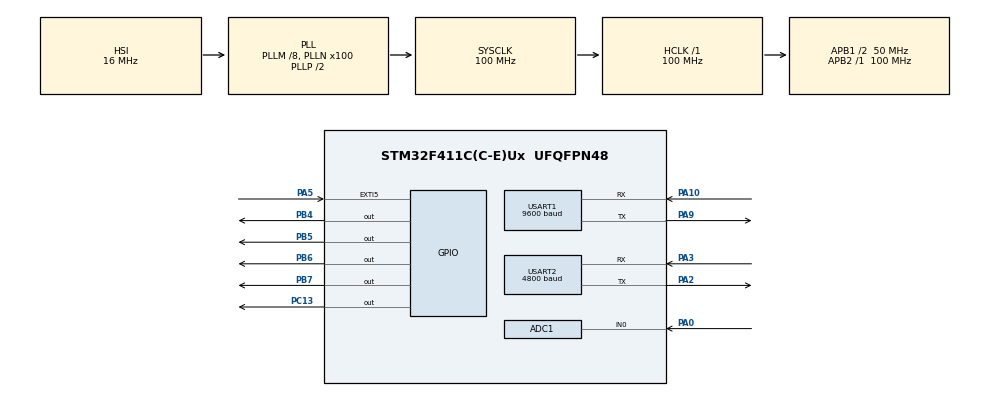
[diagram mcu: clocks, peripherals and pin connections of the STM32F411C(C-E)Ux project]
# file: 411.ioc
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ADC1.Channel-1\#ChannelRegularConversion=ADC_CHANNEL_0
ADC1.ContinuousConvMode=ENABLE
ADC1.InjNumberOfConversion=0
ADC1.NbrOfConversionFlag=1
ADC1.Rank-1\#ChannelRegularConversion=1
ADC1.SamplingTime-1\#ChannelRegularConversion=ADC_SAMPLETIME_3CYCLES
ADC1.master=1
Dma.Request0=USART2_RX
Dma.USART2_RX.0.Direction=DMA_PERIPH_TO_MEMORY
Dma.USART2_RX.0.FIFOMode=DMA_FIFOMODE_DISABLE
Dma.USART2_RX.0.Instance=DMA1_Stream5
Dma.USART2_RX.0.MemDataAlignment=DMA_MDATAALIGN_BYTE
Dma.USART2_RX.0.MemInc=DMA_MINC_ENABLE
Dma.USART2_RX.0.Mode=DMA_NORMAL
Dma.USART2_RX.0.PeriphDataAlignment=DMA_PDATAALIGN_BYTE
Dma.USART2_RX.0.PeriphInc=DMA_PINC_DISABLE
Dma.USART2_RX.0.Priority=DMA_PRIORITY_HIGH
Mcu.Family=STM32F4
Mcu.Name=STM32F411C(C-E)Ux
Mcu.Package=UFQFPN48
NVIC.DMA1_Stream5_IRQn=true\:0\:0\:true\:false\:true\:false\:true\:true
NVIC.EXTI9_5_IRQn=true\:0\:0\:true\:false\:true\:true\:true\:true
NVIC.PriorityGroup=NVIC_PRIORITYGROUP_4
NVIC.USART2_IRQn=true\:0\:0\:true\:false\:true\:true\:true\:true
PA0-WKUP.Signal=ADCx_IN0
PA10.Mode=Asynchronous
PA10.Signal=USART1_RX
PA13.Mode=Serial_Wire
PA13.Signal=SYS_JTMS-SWDIO
PA14.Mode=Serial_Wire
PA14.Signal=SYS_JTCK-SWCLK
PA2.Mode=Asynchronous
PA2.Signal=USART2_TX
PA3.Mode=Asynchronous
PA3.Signal=USART2_RX
PA5.GPIO_ModeDefaultEXTI=GPIO_MODE_IT_RISING_FALLING
PA5.Signal=GPXTI5
PA9.Mode=Asynchronous
PA9.Signal=USART1_TX
PB4.Signal=GPIO_Output
PB5.Signal=GPIO_Output
PB6.Signal=GPIO_Output
PB7.Signal=GPIO_Output
PC13-ANTI_TAMP.Signal=GPIO_Output
PH0\ -\ OSC_IN.Mode=HSE-External-Oscillator
PH0\ -\ OSC_IN.Signal=RCC_OSC_IN
PH1\ -\ OSC_OUT.Mode=HSE-External-Oscillator
PH1\ -\ OSC_OUT.Signal=RCC_OSC_OUT
ProjectManager.HeapSize=0x200
ProjectManager.StackSize=0x400
ProjectManager.TargetToolchain=MDK-ARM V5
RCC.48MHZClocksFreq_Value=50000000
RCC.AHBFreq_Value=100000000
RCC.APB1CLKDivider=RCC_HCLK_DIV2
RCC.APB1Freq_Value=50000000
RCC.APB1TimFreq_Value=100000000
RCC.APB2Freq_Value=100000000
RCC.APB2TimFreq_Value=100000000
RCC.CortexFreq_Value=100000000
RCC.HCLKFreq_Value=100000000
RCC.HSE_VALUE=25000000
RCC.HSI_VALUE=16000000
RCC.LSE_VALUE=32768
RCC.PLLM=8
RCC.PLLN=100
RCC.SYSCLKFreq_VALUE=100000000
RCC.SYSCLKSource=RCC_SYSCLKSOURCE_PLLCLK
RCC.VCOOutputFreq_Value=200000000
SH.ADCx_IN0.0=ADC1_IN0,IN0
STMicroelectronics.X-CUBE-ALGOBUILD.1.4.0.LibraryCcDSPOoLibraryJjDSPOoLibrary=true
TIM2.AutoReloadPreload=TIM_AUTORELOAD_PRELOAD_DISABLE
TIM2.Period=4294967295
TIM2.Prescaler=100-1
USART1.BaudRate=9600
USART1.VirtualMode=VM_ASYNC
USART2.BaudRate=4800
USART2.Parity=PARITY_EVEN
USART2.VirtualMode=VM_ASYNC
USART2.WordLength=WORDLENGTH_9B
VP_STMicroelectronics.X-CUBE-ALGOBUILD_VS_DSPOoLibraryJjLibrary_1.4.0_1.4.0.Mode=DSPOoLibraryJjLibrary
VP_TIM2_VS_ClockSourceINT.Mode=Internal
board=custom

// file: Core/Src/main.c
/* USER CODE BEGIN Header */
/**
 ******************************************************************************
 * @file           : main.c
 * @brief          : Main program body
 ******************************************************************************
 * @attention
 *
 * Copyright (c) 2024 STMicroelectronics.
 * All rights reserved.
 *
 * This software is licensed under terms that can be found in the LICENSE file
 * in the root directory of this software component.
 * If no LICENSE file comes with this software, it is provided AS-IS.
 *
 ******************************************************************************
 */
/* USER CODE END Header */
#include "main.h"
#include "adc.h"
#include "dma.h"
#include "tim.h"
#include "usart.h"
#include "gpio.h"

/* USER CODE BEGIN Includes */
#include <stdio.h>
#include <arm_math.h>
#ifndef PI
#define PI 3.14159265358979323846f
#endif
#define FILTER_SIZE 5
float AD_samples[FILTER_SIZE] = {0};
uint8_t sample_index = 0;
/* USER CODE END Includes */

/* USER CODE BEGIN PTD */
// 等比例缩放函数
float cal_map(float x, float in_min, float in_max, float out_min, float out_max)
{
  return (x - in_min) * (out_max - out_min) / (in_max - in_min) + out_min;
}
/**
 * 串口3重定义
 * 锟斤拷锟斤拷锟斤拷锟?: 锟斤拷
 * 锟斤拷 锟斤拷 值: 锟斤拷
 * 说    锟斤拷锟斤拷锟斤拷
 */
int fputc(int ch, FILE *f)
{
  HAL_UART_Transmit(&huart1, (uint8_t *)&ch, 1, 0xffff);
  return ch;
}
/**
 * 串口3重定义
 * 锟斤拷锟斤拷锟斤拷锟?: 锟斤拷
 * 锟斤拷 锟斤拷 值: 锟斤拷
 * 说    锟斤拷锟斤拷锟斤拷
 */
int fgetc(FILE *f)
{
  uint8_t ch = 0;
  HAL_UART_Receive(&huart1, &ch, 1, 0xffff);
  return ch;
}

// 添加滤波函数
float FilterADValue(float new_sample)
{
    // 更新样本数组
    AD_samples[sample_index] = new_sample;
    sample_index = (sample_index + 1) % FILTER_SIZE;

    // 计算平均值
    float sum = 0;
    for (int i = 0; i < FILTER_SIZE; i++)
    {
        sum += AD_samples[i];
    }
    return sum / FILTER_SIZE;
}
/* USER CODE END PTD */

/* USER CODE BEGIN PM */
int opentime = 0;
float bright,brightcal;
float AD_Value;
float AD_Turn;
int middle1;
int status=1;
/* USER CODE END PM */

/* USER CODE BEGIN PV */
uint8_t getBuffer[30];
unsigned char i, j;
int ii;
uint8_t k = 0;
uint16_t old_reg = 0, len = 0;
float V = 0, C = 0, P = 0, E_con = 0;
float cos_value;     // 计算存储余弦值
float angle_radians; // 存储计算出的角度（以弧度为单位）
unsigned long sendecon;//太阳能电量发给主控用的
/* USER CODE END PV */

void SystemClock_Config(void);
/* USER CODE BEGIN PFP */
void Data_Processing(void);
/* USER CODE END PFP */

/* USER CODE BEGIN 0 */
#define TIM_HANDLE &htim2
#define KEY0 HAL_GPIO_ReadPin(GPIOA, GPIO_PIN_5) //
void delay_us(int nus)
{
  __HAL_TIM_SET_COUNTER(TIM_HANDLE, 0); // 把计数器的值设置为0
  __HAL_TIM_ENABLE(TIM_HANDLE);         // 开启计数
  while (__HAL_TIM_GET_COUNTER(TIM_HANDLE) < nus)
    ;                            // 每计数一次，就是1us，直到计数器值等于我们需要的时间
  __HAL_TIM_DISABLE(TIM_HANDLE); // 关闭计数
}

void HAL_UARTEx_RxEventCallback(UART_HandleTypeDef *huart, uint16_t Size)
{
  if ((getBuffer[0] == 0xF2) && (getBuffer[1] == 0x5A))
  {
    //    Data_Processing();
    //    HAL_GPIO_TogglePin(GPIOC, GPIO_PIN_13);
  }
  else
  {
    for (i = 0; i < 24; i++)
    {
      getBuffer[i] = 0;
    }
    for (int ii = 0; ii < 1100000; ii++)
    {
      __NOP(); // No Operation，确保编译器不会优化掉循环
    }
  }
}
/* USER CODE END 0 */

int main(void)
{

  /* MCU Configuration--------------------------------------------------------*/

  /* Reset of all peripherals, Initializes the Flash interface and the Systick. */
  HAL_Init();

  /* Configure the system clock */
  SystemClock_Config();

  /* Initialize all configured peripherals */
  MX_GPIO_Init();
  MX_DMA_Init();
  MX_USART2_UART_Init();
  MX_TIM2_Init();
  MX_USART1_UART_Init();
  MX_ADC1_Init();
  /* USER CODE BEGIN 2 */
  // HAL_UART_Receive_IT(&huart2 ,(uint8_t *)getBuffer,24);
  // 使能接收中断和空闲中断并打开DMA接收
  __HAL_UART_ENABLE_IT(&huart2, UART_IT_RXNE);
  __HAL_UART_ENABLE_IT(&huart2, UART_IT_IDLE);
  __HAL_UART_CLEAR_IDLEFLAG(&huart2);
  HAL_UART_Receive_DMA(&huart2, (uint8_t *)getBuffer, 24);

  /* USER CODE END 2 */

  /* Infinite loop */
  /* USER CODE BEGIN WHILE */
  HAL_GPIO_WritePin(GPIOC, GPIO_PIN_13, GPIO_PIN_RESET);
  while (1)
  {
    HAL_ADC_Start(&hadc1);
    HAL_ADC_PollForConversion(&hadc1, 50); // 等待转换完成，第二个参数表示超时时间，单位ms.
    if (HAL_IS_BIT_SET(HAL_ADC_GetState(&hadc1), HAL_ADC_STATE_REG_EOC))
    {
      AD_Value = HAL_ADC_GetValue(&hadc1); // 读取ADC转换数据，数据为12位
      //    printf("v=%.1f\r\n",AD_Value);//打印日志//这里advaule是数据
    }
    Data_Processing();

    HAL_Delay(100);
    HAL_GPIO_TogglePin(GPIOC, GPIO_PIN_13);
    // AD_Value(改成转换的电压)分压电阻是8k+1k+2k，检测adc接在2k两侧
    AD_Turn = cal_map(AD_Value, 0, 4096.0f, 0, 18.0f); // adc转换成太阳能板电压
    if(AD_Turn<10.0)
    {
        middle1=1;
        status=1;
    }
    else
    {
        middle1=0;
        status=2;
    }
    cos_value = AD_Turn / 0.9f / V;                    // Ud=0.9*U2*cosa，cosa=Ud/0.9/u2;
    bright = 180-(acosf(cos_value) * (180.0f / PI));         // 算角度，给与时间
    if (bright < 90)
    bright = 90;
    if (bright > 165)
    bright = 165;
    opentime = (unsigned int)cal_map(bright, 0, 180, 0, 10000);
    sendecon=E_con*10000;//99,999.0011*10000=999990011
    printf("%d %09d\r\n",status,(int)sendecon);//status的0是线路损坏，1是关闭，2是开启
    /* USER CODE END WHILE */

  }
}

void SystemClock_Config(void)
{
  RCC_OscInitTypeDef RCC_OscInitStruct = {0};
  RCC_ClkInitTypeDef RCC_ClkInitStruct = {0};

  /** Configure the main internal regulator output voltage
   */
  __HAL_RCC_PWR_CLK_ENABLE();
  __HAL_PWR_VOLTAGESCALING_CONFIG(PWR_REGULATOR_VOLTAGE_SCALE1);

  /** Initializes the RCC Oscillators according to the specified parameters
   * in the RCC_OscInitTypeDef structure.
   */
  RCC_OscInitStruct.OscillatorType = RCC_OSCILLATORTYPE_HSI;
  RCC_OscInitStruct.HSIState = RCC_HSI_ON;
  RCC_OscInitStruct.HSICalibrationValue = RCC_HSICALIBRATION_DEFAULT;
  RCC_OscInitStruct.PLL.PLLState = RCC_PLL_ON;
  RCC_OscInitStruct.PLL.PLLSource = RCC_PLLSOURCE_HSI;
  RCC_OscInitStruct.PLL.PLLM = 8;
  RCC_OscInitStruct.PLL.PLLN = 100;
  RCC_OscInitStruct.PLL.PLLP = RCC_PLLP_DIV2;
  RCC_OscInitStruct.PLL.PLLQ = 4;
  if (HAL_RCC_OscConfig(&RCC_OscInitStruct) != HAL_OK)
  {
    Error_Handler();
  }

  /** Initializes the CPU, AHB and APB buses clocks
   */
  RCC_ClkInitStruct.ClockType = RCC_CLOCKTYPE_HCLK | RCC_CLOCKTYPE_SYSCLK | RCC_CLOCKTYPE_PCLK1 | RCC_CLOCKTYPE_PCLK2;
  RCC_ClkInitStruct.SYSCLKSource = RCC_SYSCLKSOURCE_PLLCLK;
  RCC_ClkInitStruct.AHBCLKDivider = RCC_SYSCLK_DIV1;
  RCC_ClkInitStruct.APB1CLKDivider = RCC_HCLK_DIV2;
  RCC_ClkInitStruct.APB2CLKDivider = RCC_HCLK_DIV1;

  if (HAL_RCC_ClockConfig(&RCC_ClkInitStruct, FLASH_LATENCY_3) != HAL_OK)
  {
    Error_Handler();
  }
}

/* USER CODE BEGIN 4 */
void Data_Processing(void) // 电能数据解析
{
  uint32_t VP_REG = 0, V_REG = 0, CP_REG = 0, C_REG = 0, PP_REG = 0, P_REG = 0, PF_COUNT = 0, PF = 0, dat_sum = 0;
  uint8_t i = 0;
  if (getBuffer[0] != 0xaa) // 芯片误差修正功能正常，参数正常
  {
    for (i = 2; i < 23; i++)
    {
      dat_sum = dat_sum + getBuffer[i]; // 计算校验和
    }
    if (dat_sum % 256 == getBuffer[23]) // 检查校验位是否正确
    {
      VP_REG = getBuffer[2] * 65536 + getBuffer[3] * 256 + getBuffer[4]; // 计算电压参数寄存器
      V_REG = getBuffer[5] * 65536 + getBuffer[6] * 256 + getBuffer[7];  // 计算电压寄存器
      V = (VP_REG / V_REG) * 1.88;                                       // 计算电压值，1.88为电压系数，根据所采用的分压电阻大小来确定
      // printf("U:%0.2fV; ",V);

      CP_REG = getBuffer[8] * 65536 + getBuffer[9] * 256 + getBuffer[10];  // 计算电流参数寄存器
      C_REG = getBuffer[11] * 65536 + getBuffer[12] * 256 + getBuffer[13]; // 计算电流寄存器
      C = ((CP_REG * 100) / C_REG) / 100.0;                                // 计算电流值
      // printf("I:%2.3fA; ",C);
      // sprintf((char *)dat,"U:%0.2fV  I:%2.2fA ",V,C);
      // OLED_P6x8Str(0,3,dat);
      // printf((char *)dat);
      if (getBuffer[0] > 0xf0) // 判断实时功率是否未溢出
      {
        // printf("NO Device!");
        // OLED_P6x8Str(30,4,"NO Device");
        P = 0;
      }
      else
      {
        PP_REG = getBuffer[14] * 65536 + getBuffer[15] * 256 + getBuffer[16]; // 计算功率参数寄存
        P_REG = getBuffer[17] * 65536 + getBuffer[18] * 256 + getBuffer[19];  // 计算功率寄存器
        P = (PP_REG / P_REG) * 1.88 * 1;                                      // 计算有效功率
        // sprintf((char *)dat,"P:%0.2fW   ",P);
        // OLED_P6x8Str(30,4,dat);
        // printf((char *)dat);
      }
      if ((getBuffer[20] & 0x80) != old_reg) // 判断数据更新寄存器最高位有没有翻转
      {
        k++;
        old_reg = getBuffer[20] & 0x80;
      }
      PF = (k * 65536) + (getBuffer[21] * 256) + getBuffer[22]; // 计算已用电量脉冲数
      PF_COUNT = ((100000 * 3600) / (PP_REG * 1.88)) * 10000;   // 计算1度电对应的脉冲数量
      E_con = ((PF * 10000) / PF_COUNT) / 10000.0;              // 计算已用电量
      // sprintf((char *)dat,"E:%0.4lf kW.h  ",E_con);
      // OLED_P6x8Str(10,5,dat);
      // printf((char *)dat);
      // printf("\r\n");
    }
  }
}
void HAL_GPIO_EXTI_Callback(uint16_t GPIO_Pin)
{
  if (GPIO_Pin == GPIO_PIN_5&&middle1==0) // 有中断就触发B7  B6  B5   B4,对应1234   &&middle1==0
  {
    if (KEY0 == 0)
    {
      delay_us(opentime);
      HAL_GPIO_WritePin(GPIOB, GPIO_PIN_7, GPIO_PIN_SET); // 13开
      HAL_GPIO_WritePin(GPIOB, GPIO_PIN_5, GPIO_PIN_SET); //
      delay_us(50);
      HAL_GPIO_WritePin(GPIOB, GPIO_PIN_7, GPIO_PIN_RESET); // 13关
      HAL_GPIO_WritePin(GPIOB, GPIO_PIN_5, GPIO_PIN_RESET); //
    }
    if (KEY0 == 1)
    {
      delay_us(opentime);
      HAL_GPIO_WritePin(GPIOB, GPIO_PIN_6, GPIO_PIN_SET); // 24开
      HAL_GPIO_WritePin(GPIOB, GPIO_PIN_4, GPIO_PIN_SET); //
      delay_us(50);
      HAL_GPIO_WritePin(GPIOB, GPIO_PIN_6, GPIO_PIN_RESET); // 24关
      HAL_GPIO_WritePin(GPIOB, GPIO_PIN_4, GPIO_PIN_RESET); //
    }
  }
}
/* USER CODE END 4 */

void Error_Handler(void)
{
  __disable_irq();
  while (1)
  {
  }
}
